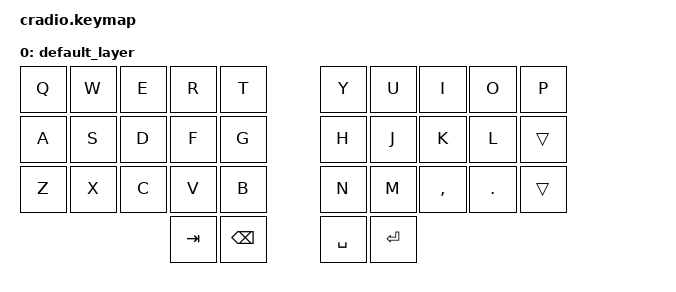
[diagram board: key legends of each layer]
/*
 * Copyright (c) 2020 The ZMK Contributors
 *
 * SPDX-License-Identifier: MIT
 */

#include "keymap_italian.h"
#include <behaviors.dtsi>
#include <dt-bindings/zmk/keys.h>

// Layer definitions

#define BASE 0
#define SYM 1
#define EXT 2
#define FNC 3
#define SYM2 4
#define ACCENT 5
#define SETTINGS 6

// -----------------

&mt {
    //  flavor = "tap-preferred";
    // tapping_term_ms = <200>;
};

&sk { ignore-modifiers; };

/ {
    macros {
        // sometimes my device thinks a modifier is being held down
        // pressing all modifiers fixes it.

        unstick: unstick {
            label = "ZM_unstick";
            compatible = "zmk,behavior-macro";
            #binding-cells = <0>;
            bindings = <&kp LSHIFT &kp RSHIFT &kp LCTRL &kp RCTRL &kp LALT &kp RALT &kp LGUI &kp RGUI>;
        };
    };

    combos {
        compatible = "zmk,combos";

        // both right thumb keys

        combo_accent {
            timeout-ms = <300>;
            key-positions = <32 33>;
            bindings = <&mo 0>;
        };

        // internal-left & external-right thumb keys

        combo_sym2 {
            timeout-ms = <200>;
            key-positions = <31 33>;
            bindings = <&mo 0>;
        };

        // both left thumb keys

        combo_settings {
            timeout-ms = <300>;
            key-positions = <30 31>;
            bindings = <&mo 0>;
        };
    };

    keymap {
        compatible = "zmk,keymap";

        // Base alpha layer

        default_layer {
            bindings = <
&kp Q  &kp W  &kp E  &kp R    &kp T       &kp Y      &kp U      &kp I      &kp O    &kp P
&kp A  &kp S  &kp D  &kp F    &kp G       &kp H      &kp J      &kp K      &kp L    &trans
&kp Z  &kp X  &kp C  &kp V    &kp B       &kp N      &kp M      &kp COMMA  &kp DOT  &trans
                     &kp TAB  &kp BSPC    &kp SPACE  &kp ENTER
            >;
        };

        // Numbers and high frequency symbols
        // Main modifiers and arrow keys
        // Function keys with modifiers
        // Low frequency symbols.
        // Used to type regional accents.
        // Used to change the keyboard's settings.
    };
};
